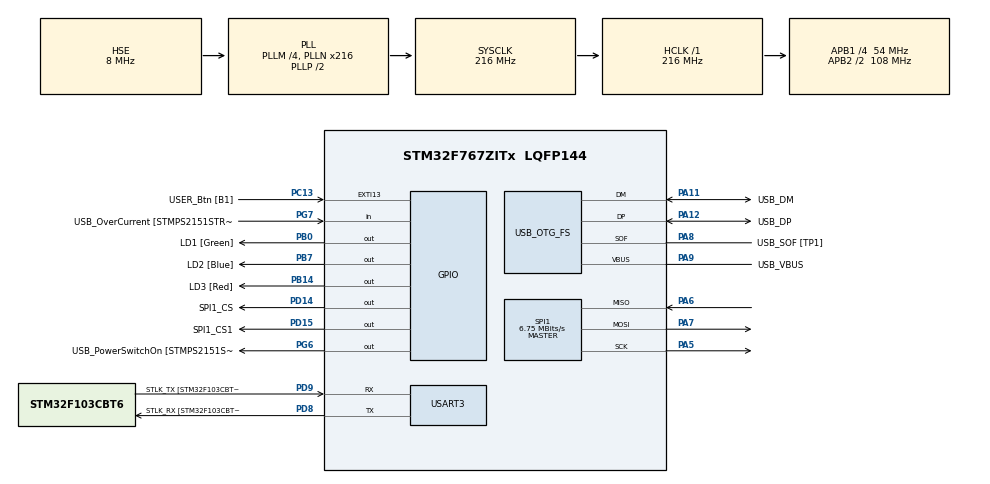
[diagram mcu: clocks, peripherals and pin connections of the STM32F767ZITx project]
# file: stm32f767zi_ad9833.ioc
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Dma.Request0=SPI1_RX
Dma.Request1=SPI1_TX
Dma.SPI1_RX.0.Direction=DMA_PERIPH_TO_MEMORY
Dma.SPI1_RX.0.FIFOMode=DMA_FIFOMODE_DISABLE
Dma.SPI1_RX.0.Instance=DMA2_Stream0
Dma.SPI1_RX.0.MemDataAlignment=DMA_MDATAALIGN_BYTE
Dma.SPI1_RX.0.MemInc=DMA_MINC_ENABLE
Dma.SPI1_RX.0.Mode=DMA_NORMAL
Dma.SPI1_RX.0.PeriphDataAlignment=DMA_PDATAALIGN_BYTE
Dma.SPI1_RX.0.PeriphInc=DMA_PINC_DISABLE
Dma.SPI1_RX.0.Priority=DMA_PRIORITY_LOW
Dma.SPI1_TX.1.Direction=DMA_MEMORY_TO_PERIPH
Dma.SPI1_TX.1.FIFOMode=DMA_FIFOMODE_DISABLE
Dma.SPI1_TX.1.Instance=DMA2_Stream3
Dma.SPI1_TX.1.MemDataAlignment=DMA_MDATAALIGN_BYTE
Dma.SPI1_TX.1.MemInc=DMA_MINC_ENABLE
Dma.SPI1_TX.1.Mode=DMA_NORMAL
Dma.SPI1_TX.1.PeriphDataAlignment=DMA_PDATAALIGN_BYTE
Dma.SPI1_TX.1.PeriphInc=DMA_PINC_DISABLE
Dma.SPI1_TX.1.Priority=DMA_PRIORITY_LOW
Mcu.Family=STM32F7
Mcu.Name=STM32F767ZITx
Mcu.Package=LQFP144
NVIC.DMA2_Stream0_IRQn=true\:0\:0\:false\:false\:true\:false\:true
NVIC.DMA2_Stream3_IRQn=true\:0\:0\:false\:false\:true\:false\:true
NVIC.PriorityGroup=NVIC_PRIORITYGROUP_4
PA10.GPIO_Label=USB_ID
PA10.Signal=USB_OTG_FS_ID
PA11.GPIO_Label=USB_DM
PA11.Mode=Device_Only
PA11.Signal=USB_OTG_FS_DM
PA12.GPIO_Label=USB_DP
PA12.Mode=Device_Only
PA12.Signal=USB_OTG_FS_DP
PA13.GPIO_Label=TMS
PA13.Mode=Serial_Wire
PA13.Signal=SYS_JTMS-SWDIO
PA14.GPIO_Label=TCK
PA14.Mode=Serial_Wire
PA14.Signal=SYS_JTCK-SWCLK
PA5.Mode=Full_Duplex_Master
PA5.Signal=SPI1_SCK
PA6.Mode=Full_Duplex_Master
PA6.Signal=SPI1_MISO
PA7.Mode=Full_Duplex_Master
PA7.Signal=SPI1_MOSI
PA8.GPIO_Label=USB_SOF [TP1]
PA8.Mode=Activate_SOF_FS
PA8.Signal=USB_OTG_FS_SOF
PA9.GPIO_Label=USB_VBUS
PA9.Mode=Activate_VBUS
PA9.Signal=USB_OTG_FS_VBUS
PB0.GPIO_Label=LD1 [Green]
PB0.Signal=GPIO_Output
PB14.GPIO_Label=LD3 [Red]
PB14.Signal=GPIO_Output
PB3.GPIO_Label=SWO
PB3.Signal=SYS_JTDO-SWO
PB7.GPIO_Label=LD2 [Blue]
PB7.Signal=GPIO_Output
PC13.GPIO_Label=USER_Btn [B1]
PC13.Signal=GPXTI13
PC14/OSC32_IN.Mode=LSE-External-Oscillator
PC14/OSC32_IN.Signal=RCC_OSC32_IN
PC15/OSC32_OUT.Mode=LSE-External-Oscillator
PC15/OSC32_OUT.Signal=RCC_OSC32_OUT
PD14.GPIO_Label=SPI1_CS
PD14.GPIO_Speed=GPIO_SPEED_FREQ_HIGH
PD14.PinState=GPIO_PIN_SET
PD14.Signal=GPIO_Output
PD15.GPIO_Label=SPI1_CS1
PD15.GPIO_Speed=GPIO_SPEED_FREQ_MEDIUM
PD15.PinState=GPIO_PIN_SET
PD15.Signal=GPIO_Output
PD8.GPIO_Label=STLK_RX [STM32F103CBT6_PA3]
PD8.Mode=Asynchronous
PD8.Signal=USART3_TX
PD9.GPIO_Label=STLK_TX [STM32F103CBT6_PA2]
PD9.Mode=Asynchronous
PD9.Signal=USART3_RX
PG6.GPIO_Label=USB_PowerSwitchOn [STMPS2151STR_EN]
PG6.Signal=GPIO_Output
PG7.GPIO_Label=USB_OverCurrent [STMPS2151STR_FAULT]
PG7.Signal=GPIO_Input
PH0/OSC_IN.GPIO_Label=MCO [STM32F103CBT6_PA8]
PH0/OSC_IN.Mode=HSE-External-Oscillator
PH0/OSC_IN.Signal=RCC_OSC_IN
PH1/OSC_OUT.Mode=HSE-External-Oscillator
PH1/OSC_OUT.Signal=RCC_OSC_OUT
ProjectManager.HeapSize=0x200
ProjectManager.StackSize=0x800
ProjectManager.TargetToolchain=STM32CubeIDE
RCC.48MHZClocksFreq_Value=24000000
RCC.AHBFreq_Value=216000000
RCC.APB1CLKDivider=RCC_HCLK_DIV4
RCC.APB1Freq_Value=54000000
RCC.APB1TimFreq_Value=108000000
RCC.APB2CLKDivider=RCC_HCLK_DIV2
RCC.APB2Freq_Value=108000000
RCC.APB2TimFreq_Value=216000000
RCC.CortexFreq_Value=216000000
RCC.HCLKFreq_Value=216000000
RCC.HSE_VALUE=8000000
RCC.HSI_VALUE=16000000
RCC.PLLM=4
RCC.PLLMUL=RCC_PLL_MUL9
RCC.PLLN=216
RCC.PLLQ=9
RCC.PRESCALERUSB=RCC_USBCLKSOURCE_PLL_DIV1_5
RCC.SYSCLKFreq_VALUE=216000000
RCC.SYSCLKSource=RCC_SYSCLKSOURCE_PLLCLK
RCC.SYSCLKSourceVirtual=RCC_SYSCLKSOURCE_PLLCLK
RCC.USBFreq_Value=48000000
RCC.VCOOutputFreq_Value=432000000
SPI1.BaudRatePrescaler=SPI_BAUDRATEPRESCALER_16
SPI1.CLKPhase=SPI_PHASE_2EDGE
SPI1.CLKPolarity=SPI_POLARITY_HIGH
SPI1.CalculateBaudRate=6.75 MBits/s
SPI1.DataSize=SPI_DATASIZE_8BIT
SPI1.Direction=SPI_DIRECTION_2LINES
SPI1.Mode=SPI_MODE_MASTER
SPI1.VirtualType=VM_MASTER
USART3.VirtualMode-Asynchronous=VM_ASYNC
USB_OTG_FS.VirtualMode=Device_Only
board=NUCLEO-F767ZI

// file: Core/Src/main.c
/* USER CODE BEGIN Header */
/**
  ******************************************************************************
  * @file           : main.c
  * @brief          : Main program body
  ******************************************************************************
  * @attention
  *
  * <h2><center>&copy; Copyright (c) 2021 STMicroelectronics.
  * All rights reserved.</center></h2>
  *
  * This software component is licensed by ST under BSD 3-Clause license,
  * the "License"; You may not use this file except in compliance with the
  * License. You may obtain a copy of the License at:
  *                        opensource.org/licenses/BSD-3-Clause
  *
  ******************************************************************************
  */
/* USER CODE END Header */
#include "main.h"
#include "dma.h"
#include "spi.h"
#include "usart.h"
#include "usb_otg.h"
#include "gpio.h"

/* USER CODE BEGIN Includes */
#include "ad9833.h"
#include "mcp4xxx.h"
/* USER CODE END Includes */

/* USER CODE BEGIN PD */
#define MAX_RESISTANCE		10000
/* USER CODE END PD */

/* USER CODE BEGIN PV */
static AD983x_State_t AD9833_State;
static MCP4xxx_State_t MCP41010_State;

static DDS_Def_t AD9833_st;
static PTM_Def_t MCP41010_st;
/* USER CODE END PV */

void SystemClock_Config(void);

/* USER CODE BEGIN 0 */
static AD983x_State_t AD9833_SPI_Event_Handle(DDS_SPI_Event_t commEvent_en, uint8_t *data_p8, uint16_t dataSize_u16, void *context_p);
static MCP4xxx_State_t MCP41010_SPI_Event_Handle(PTM_SPI_Event_t commEvent_en, uint8_t *data_p8, uint16_t dataSize_u16, void *context_p);
static void AD9833_Delay_Handle(uint32_t delayTime_u32);
/* USER CODE END 0 */

int main(void)
{

  /* MCU Configuration--------------------------------------------------------*/

  /* Reset of all peripherals, Initializes the Flash interface and the Systick. */
  HAL_Init();

  /* Configure the system clock */
  SystemClock_Config();

  /* Initialize all configured peripherals */
  MX_GPIO_Init();
  MX_USART3_UART_Init();
  MX_DMA_Init();
  MX_SPI1_Init();
  MX_USB_OTG_FS_PCD_Init();
  /* USER CODE BEGIN 2 */
  MCP41010_st.device = MCP42xx;
  MCP41010_st.mode = POTENTIOMETER_MODE;
  MCP41010_st.maxResistance = MAX_RESISTANCE;
  MCP41010_st.spiHandle = MCP41010_SPI_Event_Handle;

  MCP41010_State = MCP4xxx_Init(&MCP41010_st);
  MCP41010_State = MCP4xxx_WritePotentiometerValue(&MCP41010_st, MCP4xxx_SELECT_PTM_1, 5000);

  AD9833_st.outputEnabled = 1;
  AD9833_st.dacEnabled = 1;
  AD9833_st.internalClockEnabled = 1;
  AD9833_st.referenceFrequency = 25000000UL;
  AD9833_st.spiHandle = AD9833_SPI_Event_Handle;
  AD9833_st.delayHandle = AD9833_Delay_Handle;

  AD9833_State = AD983x_Init(&AD9833_st);
  AD9833_State = AD983x_ApplySignal(&AD9833_st, REG0, 1000000, REG0, 0.0, REG0, SQUARE_WAVE);
  AD9833_State = AD983x_EnableOutput(&AD9833_st, 1);

  /* USER CODE END 2 */

  /* Infinite loop */
  while (1)
  {

  }
}

void SystemClock_Config(void)
{
  RCC_OscInitTypeDef RCC_OscInitStruct = {0};
  RCC_ClkInitTypeDef RCC_ClkInitStruct = {0};
  RCC_PeriphCLKInitTypeDef PeriphClkInitStruct = {0};

  /** Configure LSE Drive Capability
  */
  HAL_PWR_EnableBkUpAccess();
  /** Configure the main internal regulator output voltage
  */
  __HAL_RCC_PWR_CLK_ENABLE();
  __HAL_PWR_VOLTAGESCALING_CONFIG(PWR_REGULATOR_VOLTAGE_SCALE1);
  /** Initializes the RCC Oscillators according to the specified parameters
  * in the RCC_OscInitTypeDef structure.
  */
  RCC_OscInitStruct.OscillatorType = RCC_OSCILLATORTYPE_HSE;
  RCC_OscInitStruct.HSEState = RCC_HSE_ON;
  RCC_OscInitStruct.PLL.PLLState = RCC_PLL_ON;
  RCC_OscInitStruct.PLL.PLLSource = RCC_PLLSOURCE_HSE;
  RCC_OscInitStruct.PLL.PLLM = 4;
  RCC_OscInitStruct.PLL.PLLN = 216;
  RCC_OscInitStruct.PLL.PLLP = RCC_PLLP_DIV2;
  RCC_OscInitStruct.PLL.PLLQ = 9;
  RCC_OscInitStruct.PLL.PLLR = 2;
  if (HAL_RCC_OscConfig(&RCC_OscInitStruct) != HAL_OK)
  {
    Error_Handler();
  }
  /** Activate the Over-Drive mode
  */
  if (HAL_PWREx_EnableOverDrive() != HAL_OK)
  {
    Error_Handler();
  }
  /** Initializes the CPU, AHB and APB buses clocks
  */
  RCC_ClkInitStruct.ClockType = RCC_CLOCKTYPE_HCLK|RCC_CLOCKTYPE_SYSCLK
                              |RCC_CLOCKTYPE_PCLK1|RCC_CLOCKTYPE_PCLK2;
  RCC_ClkInitStruct.SYSCLKSource = RCC_SYSCLKSOURCE_PLLCLK;
  RCC_ClkInitStruct.AHBCLKDivider = RCC_SYSCLK_DIV1;
  RCC_ClkInitStruct.APB1CLKDivider = RCC_HCLK_DIV4;
  RCC_ClkInitStruct.APB2CLKDivider = RCC_HCLK_DIV2;

  if (HAL_RCC_ClockConfig(&RCC_ClkInitStruct, FLASH_LATENCY_7) != HAL_OK)
  {
    Error_Handler();
  }
  PeriphClkInitStruct.PeriphClockSelection = RCC_PERIPHCLK_USART3|RCC_PERIPHCLK_CLK48;
  PeriphClkInitStruct.Usart3ClockSelection = RCC_USART3CLKSOURCE_PCLK1;
  PeriphClkInitStruct.Clk48ClockSelection = RCC_CLK48SOURCE_PLL;
  if (HAL_RCCEx_PeriphCLKConfig(&PeriphClkInitStruct) != HAL_OK)
  {
    Error_Handler();
  }
}

/* USER CODE BEGIN 4 */
static AD983x_State_t AD9833_SPI_Event_Handle(DDS_SPI_Event_t commEvent_en, uint8_t *data_p8, uint16_t dataSize_u16, void *context_p)
{
	HAL_StatusTypeDef ret;

	if (SPI_DDS_EVENT_TRANSMIT == commEvent_en)
	{
		HAL_GPIO_WritePin(SPI1_CS_GPIO_Port, SPI1_CS_Pin, GPIO_PIN_RESET);
		ret = HAL_SPI_Transmit(&hspi1, data_p8, dataSize_u16, 1000);
		HAL_GPIO_WritePin(SPI1_CS_GPIO_Port, SPI1_CS_Pin, GPIO_PIN_SET);
	}

	switch (ret)
	{
		case HAL_ERROR:
		{
			ret = AD983x_COMM_ERROR;
			break;
		}

		case HAL_BUSY:
		{
			ret = AD983x_DEVICE_BUSY;
			break;
		}

		case HAL_TIMEOUT:
		{
			ret = AD983x_COMM_TIMEOUT;
			break;
		}

		default: break;
	}

	return ret;
}

static MCP4xxx_State_t MCP41010_SPI_Event_Handle(PTM_SPI_Event_t commEvent_en, uint8_t *data_p8, uint16_t dataSize_u16, void *context_p)
{
	HAL_StatusTypeDef ret;

	if (SPI_PTM_EVENT_TRANSMIT == commEvent_en)
	{
		HAL_GPIO_WritePin(SPI1_CS1_GPIO_Port, SPI1_CS1_Pin, GPIO_PIN_RESET);
		ret = HAL_SPI_Transmit(&hspi1, data_p8, dataSize_u16, 1000);
		HAL_GPIO_WritePin(SPI1_CS1_GPIO_Port, SPI1_CS1_Pin, GPIO_PIN_SET);
	}

	switch (ret)
	{
		case HAL_ERROR:
		{
			ret = MCP4xxx_COMM_ERROR;
			break;
		}

		case HAL_BUSY:
		{
			ret = MCP4xxx_DEVICE_BUSY;
			break;
		}

		case HAL_TIMEOUT:
		{
			ret = MCP4xxx_COMM_TIMEOUT;
			break;
		}

		default: break;
	}

	return ret;
}

static void AD9833_Delay_Handle(uint32_t delayTime_u32)
{
	HAL_Delay(delayTime_u32);
}
/* USER CODE END 4 */

void Error_Handler(void)
{
  __disable_irq();
  while (1)
  {
  }
}

/************************ (C) COPYRIGHT STMicroelectronics *****END OF FILE****/
